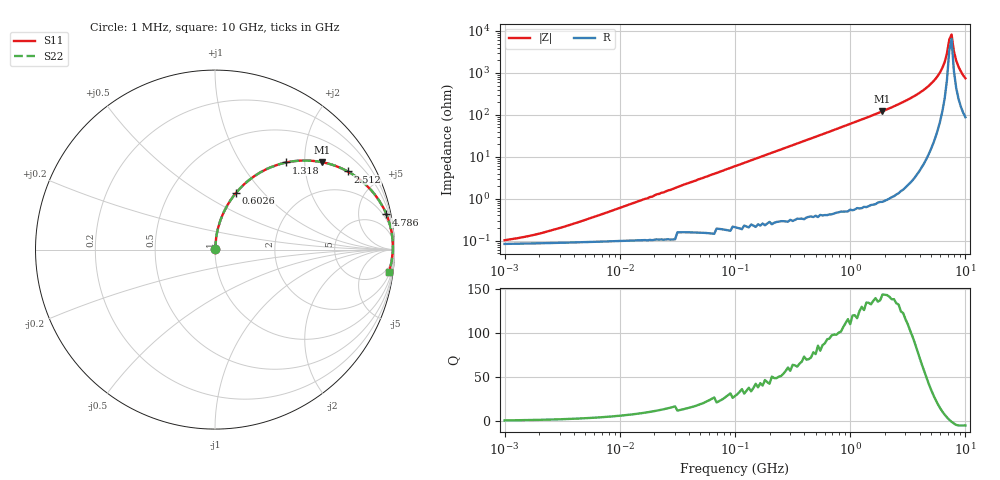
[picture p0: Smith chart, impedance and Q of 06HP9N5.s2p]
# MHz S MA R 50
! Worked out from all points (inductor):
!   201 points, 1 MHz to 10 GHz, reference 50 ohm
!   read as one part in series: L = 9.51 nH near 4.786 MHz
!   highest Q = 143 at 1.905 GHz (marker M1), where L = 10.2 nH
!   self-resonance near 7.244 GHz
!   S11 on the Smith chart (normalised r, x): 1 MHz: 1.00, +0.00; 602.6 MHz: 1.01, +0.72; 1.318 GHz: 1.01, +1.62; 2.512 GHz: 1.03, +3.38; 4.786 GHz: 1.23, +9.71; 10 GHz: 3, -15
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1  0.0008997 41.5  0.999 -0.0  0.999 -0.0  0.0008997 41.5
2.089  0.001448 59.3  0.999 -0.1  0.999 -0.1  0.001448 59.3
4.786  0.002977 73.4  0.999 -0.2  0.999 -0.2  0.002977 73.4
21.878  0.013 84.0  0.999 -0.7  0.999 -0.7  0.013 84.0
104.713  0.062 84.6  0.996 -3.6  0.996 -3.6  0.062 84.6
478.63  0.275 73.3  0.958 -16.0  0.958 -16.0  0.275 73.3
602.56  0.339 69.5  0.937 -19.8  0.937 -19.8  0.339 69.5
1318.257  0.628 50.6  0.773 -38.9  0.773 -38.9  0.628 50.6
1905.461  0.77 39.2  0.633 -50.3  0.633 -50.3  0.77 39.2
2187.762  0.817 34.9  0.571 -54.7  0.571 -54.7  0.817 34.9
2511.886  0.858 30.5  0.507 -59.1  0.507 -59.1  0.858 30.5
3630.781  0.94 19.3  0.331 -70.0  0.331 -70.0  0.94 19.3
4786.301  0.975 11.6  0.201 -77.1  0.201 -77.1  0.975 11.6
5495.409  0.985 7.9  0.137 -79.8  0.137 -79.8  0.985 7.9
6309.573  0.99 4.3  0.075 -80.4  0.075 -80.4  0.99 4.3
6918.31  0.991 1.9  0.034 -74.6  0.034 -74.6  0.991 1.9
7244.36  0.991 0.7  0.016 -55.4  0.016 -55.4  0.991 0.7
7585.776  0.991 -0.4  0.012 38.2  0.012 38.2  0.991 -0.4
7943.282  0.989 -1.6  0.03 68.4  0.03 68.4  0.989 -1.6
8317.638  0.988 -2.8  0.05 74.3  0.05 74.3  0.988 -2.8
9120.108  0.983 -5.1  0.09 76.5  0.09 76.5  0.983 -5.1
10000  0.976 -7.5  0.131 75.8  0.131 75.8  0.976 -7.5
